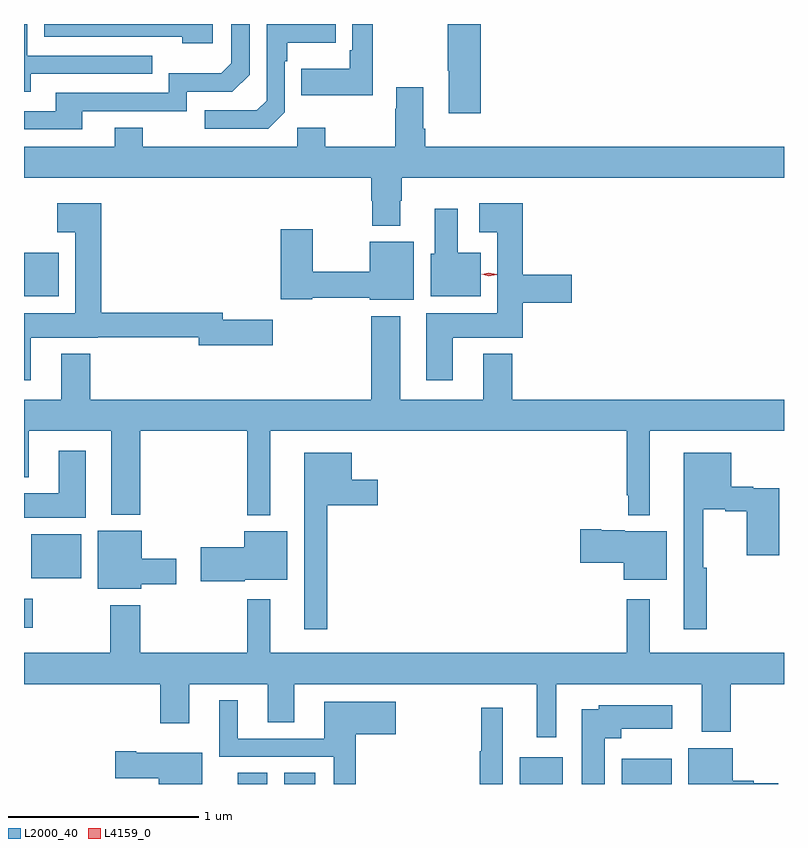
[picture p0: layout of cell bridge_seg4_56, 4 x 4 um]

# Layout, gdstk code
import gdstk
lib = gdstk.Library(unit=1e-6, precision=1e-09)
def R(c, l, rs):  # rectangles x0, y0, x1, y1
    for r in rs: c.add(gdstk.rectangle(r[:2], r[2:], *l))
def P(c, l, *ps):  # polygons
    for p in ps: c.add(gdstk.Polygon(p, *l))
L2000_40 = (2000, 40)
L4159_0 = (4159, 0)

bridge_seg4_56 = lib.new_cell('bridge_seg4_56')
R(bridge_seg4_56, L2000_40, [(772.721,821.602,772.876,821.66), (772.964,821.602,773.128,821.66), (774.203,821.602,774.43,821.743), (774.74,821.602,775.003,821.734), (771.595,822.425,771.64,822.577), (771.632,822.686,771.895,822.916), (771.595,824.168,771.778,824.398)])
P(bridge_seg4_56, L2000_40, [(773.999,825.602),(773.824,825.602),(773.824,825.355),(773.831,825.355),(773.831,825.132),(773.999,825.132)],
  [(771.901,825.144),(772.452,825.144),(772.452,825.246),(772.692,825.246),(772.782,825.336),(772.782,825.602),(772.686,825.602),(772.686,825.396),(772.633,825.343),(772.356,825.343),(772.356,825.24),(771.761,825.24),(771.761,825.144),(771.595,825.144),(771.595,825.048),(771.901,825.048)],
  [(773.431,825.602),(773.322,825.602),(773.322,825.463),(773.31,825.463),(773.31,825.367),(773.053,825.367),(773.053,825.227),(773.431,825.227)],
  [(772.968,825.138),(772.968,825.407),(772.981,825.407),(772.981,825.503),(773.237,825.503),(773.237,825.602),(772.872,825.602),(772.872,825.198),(772.821,825.147),(772.545,825.147),(772.545,825.051),(772.881,825.051)],
  [(772.588,825.602),(771.702,825.602),(771.702,825.534),(772.427,825.534),(772.427,825.5),(772.588,825.5)],
  [(771.631,825.339),(772.271,825.339),(772.271,825.435),(771.612,825.435),(771.612,825.602),(771.595,825.602),(771.595,825.245),(771.631,825.245)],
  [(773.575,824.672),(773.583,824.672),(773.583,824.792),(775.595,824.792),(775.595,824.956),(773.708,824.956),(773.708,825.052),(773.695,825.052),(773.695,825.268),(773.555,825.268),(773.555,825.155),(773.548,825.155),(773.548,824.956),(773.181,824.956),(773.181,825.055),(773.034,825.055),(773.034,824.956),(772.221,824.956),(772.221,825.055),(772.073,825.055),(772.073,824.956),(771.595,824.956),(771.595,824.792),(773.423,824.792),(773.423,824.672),(773.428,824.672),(773.428,824.54),(773.575,824.54)],
  [(773.851,823.952),(774.221,823.952),(774.221,824.135),(774.478,824.135),(774.478,824.282),(774.221,824.282),(774.221,824.659),(773.991,824.659),(773.991,824.507),(774.086,824.507),(774.086,824.08),(773.711,824.08),(773.711,823.728),(773.851,823.728)],
  [(771.631,823.952),(771.984,823.952),(771.984,823.953),(772.514,823.953),(772.514,823.91),(772.903,823.91),(772.903,824.045),(772.642,824.045),(772.642,824.081),(772.001,824.081),(772.001,824.659),(771.771,824.659),(771.771,824.507),(771.866,824.507),(771.866,824.08),(771.595,824.08),(771.595,823.728),(771.631,823.728)],
  [(773.998,824.398),(773.878,824.398),(773.878,824.629),(773.756,824.629),(773.756,824.394),(773.735,824.394),(773.735,824.168),(773.998,824.168)],
  [(773.647,824.455),(773.414,824.455),(773.414,824.297),(773.116,824.297),(773.116,824.521),(772.946,824.521),(772.946,824.153),(773.112,824.153),(773.112,824.161),(773.414,824.161),(773.414,824.15),(773.647,824.15)],
  [(772.891,823.46),(774.768,823.46),(774.768,823.123),(774.775,823.123),(774.775,823.016),(774.889,823.016),(774.889,823.46),(775.595,823.46),(775.595,823.624),(774.164,823.624),(774.164,823.867),(774.011,823.867),(774.011,823.624),(773.575,823.624),(773.575,824.065),(773.423,824.065),(773.423,823.624),(771.944,823.624),(771.944,823.867),(771.791,823.867),(771.791,823.624),(771.595,823.624),(771.595,823.217),(771.619,823.217),(771.619,823.46),(772.055,823.46),(772.055,823.019),(772.208,823.019),(772.208,823.46),(772.77,823.46),(772.77,823.016),(772.891,823.016)],
  [(771.919,823.357),(771.779,823.357),(771.779,823.132),(771.595,823.132),(771.595,823.004),(771.919,823.004)],
  [(773.191,823.07),(773.458,823.07),(773.458,823.204),(773.32,823.204),(773.32,823.345),(773.069,823.345),(773.069,822.417),(773.191,822.417)],
  [(775.189,822.741),(775.171,822.741),(775.171,823.049),(775.286,823.049),(775.286,823.037),(775.4,823.037),(775.4,822.807),(775.571,822.807),(775.571,823.159),(775.434,823.159),(775.434,823.167),(775.318,823.167),(775.318,823.345),(775.067,823.345),(775.067,822.417),(775.189,822.417)],
  [(774.979,822.931),(774.756,822.931),(774.756,822.937),(774.634,822.937),(774.634,822.944),(774.522,822.944),(774.522,822.766),(774.752,822.766),(774.752,822.677),(774.979,822.677)],
  [(772.212,822.653),(772.396,822.653),(772.396,822.788),(772.216,822.788),(772.216,822.934),(771.983,822.934),(771.983,822.629),(772.212,822.629)],
  [(772.758,822.677),(772.981,822.677),(772.981,822.931),(772.754,822.931),(772.754,822.848),(772.524,822.848),(772.524,822.67),(772.758,822.67)],
  [(774.397,822.128),(775.163,822.128),(775.163,821.876),(775.316,821.876),(775.316,822.128),(775.595,822.128),(775.595,822.292),(774.889,822.292),(774.889,822.574),(774.768,822.574),(774.768,822.292),(772.891,822.292),(772.891,822.574),(772.77,822.574),(772.77,822.292),(772.208,822.292),(772.208,822.544),(772.048,822.544),(772.048,822.292),(771.595,822.292),(771.595,822.128),(772.313,822.128),(772.313,821.922),(772.465,821.922),(772.465,822.128),(772.877,822.128),(772.877,821.926),(773.017,821.926),(773.017,822.128),(774.293,822.128),(774.293,821.847),(774.397,821.847)],
  [(773.342,821.864),(773.551,821.864),(773.551,822.034),(773.174,822.034),(773.174,821.841),(772.72,821.841),(772.72,822.043),(772.622,822.043),(772.622,821.745),(773.226,821.745),(773.226,821.602),(773.342,821.602)],
  [(774.652,821.843),(774.739,821.843),(774.739,821.894),(775.006,821.894),(775.006,822.016),(774.621,822.016),(774.621,821.995),(774.53,821.995),(774.53,821.602),(774.652,821.602)],
  [(774.115,822.004),(774.001,822.004),(774.001,821.774),(773.994,821.774),(773.994,821.602),(774.115,821.602)],
  [(775.566,821.605),(775.437,821.605),(775.437,821.618),(775.324,821.618),(775.324,821.791),(775.091,821.791),(775.091,821.602),(775.566,821.602)],
  [(772.534,821.767),(772.186,821.767),(772.186,821.775),(772.074,821.775),(772.074,821.633),(772.304,821.633),(772.304,821.602),(772.534,821.602)])
P(bridge_seg4_56, L4159_0, [(774.042,824.274),(774.003,824.284),(774.003,824.284),(774.003,824.284),(774.042,824.294),(774.082,824.284),(774.082,824.283),(774.082,824.283)])

lib.write_gds('bridge_seg4_56.gds')
